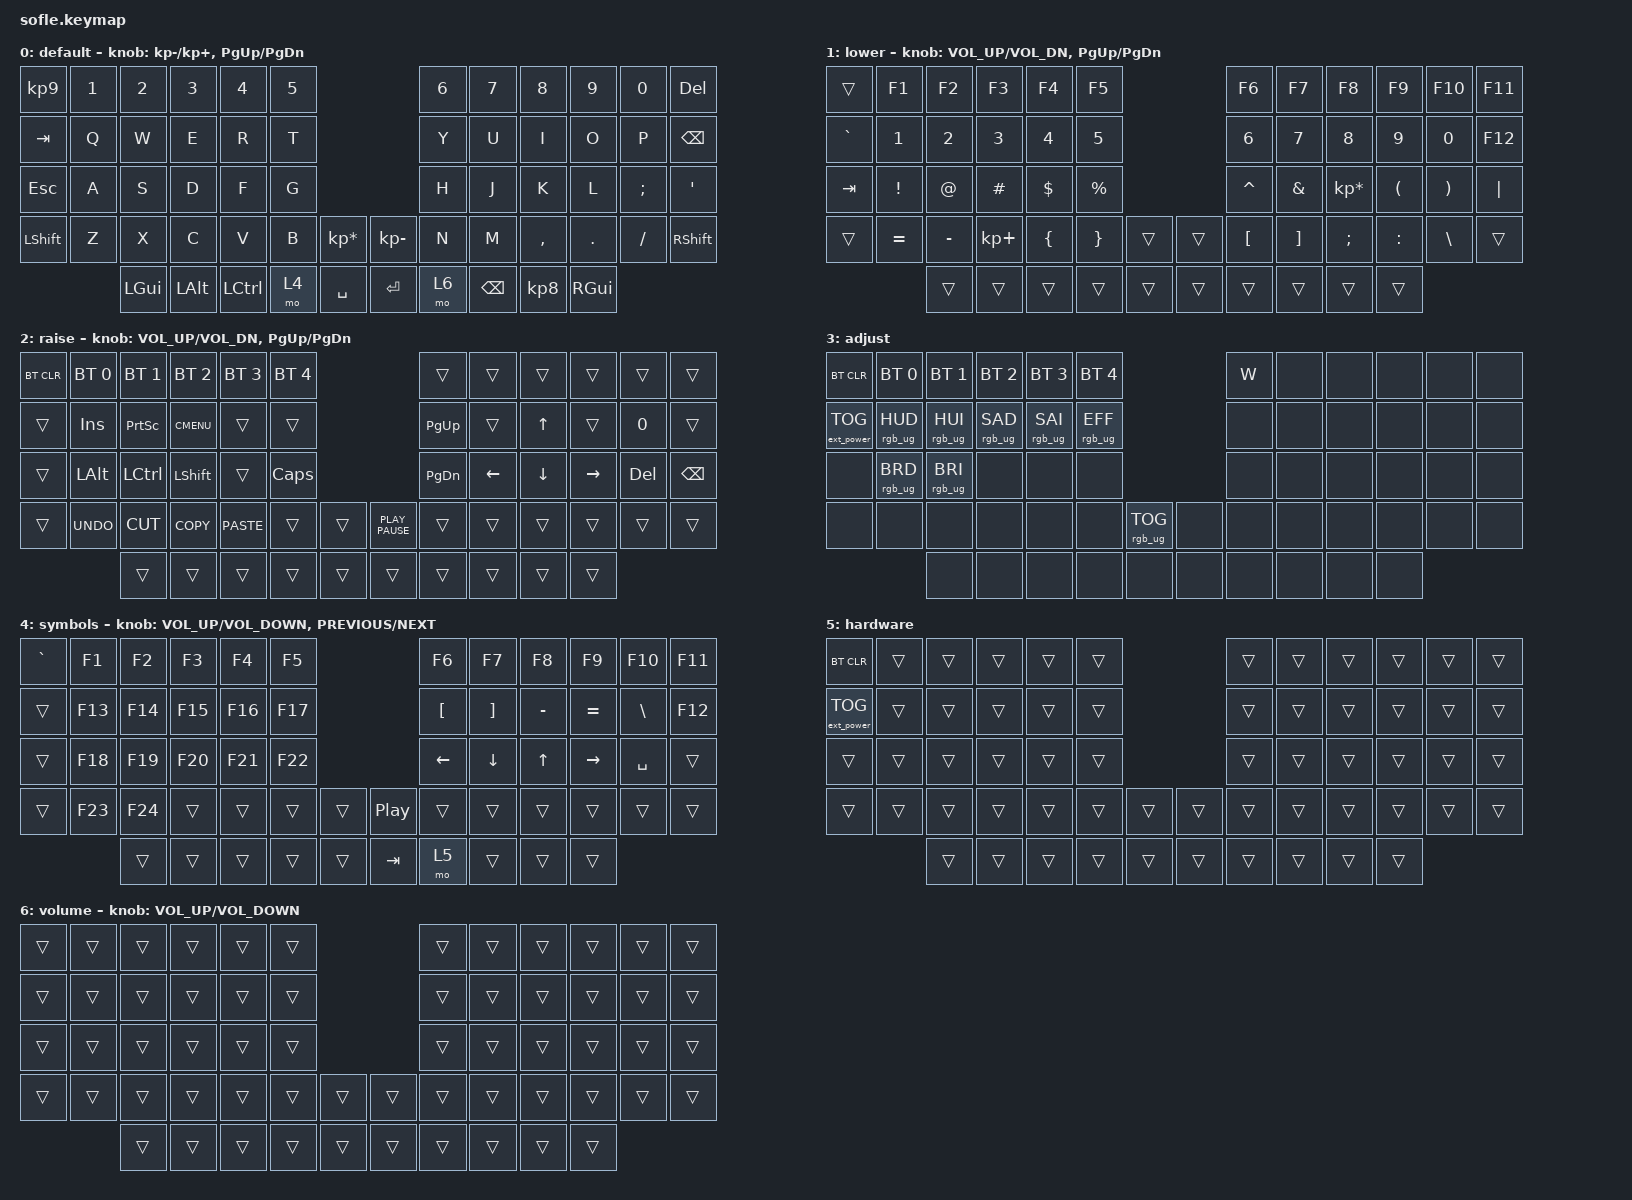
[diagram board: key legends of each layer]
/*
 * Copyright (c) 2020 The ZMK Contributors
 *
 * SPDX-License-Identifier: MIT
 */

#include <behaviors.dtsi>
#include <dt-bindings/zmk/bt.h>
#include <dt-bindings/zmk/ext_power.h>
#include <dt-bindings/zmk/keys.h>
#include <dt-bindings/zmk/rgb.h>

#define BASE 0
#define LOWER 1
#define RAISE 2
#define ADJUST 3

/ {
    // Activate ADJUST layer by pressing raise and lower

    conditional_layers {
        compatible = "zmk,conditional-layers";

        adjust_layer {
            if-layers = <LOWER RAISE>;
            then-layer = <ADJUST>;
        };
    };

    keymap {
        compatible = "zmk,keymap";

        default_layer {
            label = "default";

            // ------------------------------------------------------------------------------------------------------------
            // |   `   |  1  |  2  |  3   |  4   |  5   |                   |  6   |  7    |  8    |  9   |   0   |       |
            // |  ESC  |  Q  |  W  |  E   |  R   |  T   |                   |  Y   |  U    |  I    |  O   |   P   | BKSPC |
            // |  TAB  |  A  |  S  |  D   |  F   |  G   |                   |  H   |  J    |  K    |  L   |   ;   |   '   |
            // | SHIFT |  Z  |  X  |  C   |  V   |  B   |  MUTE  |  |       |  N   |  M    |  ,    |  .   |   /   | SHIFT |
            //               | GUI | ALT  | CTRL | LOWER|  ENTER |  | SPACE | RAISE| CTRL  | ALT   | GUI  |

            bindings = <
&kp KP_NUMBER_9  &kp N1  &kp N2    &kp N3    &kp N4     &kp N5                                      &kp N6  &kp N7         &kp N8           &kp N9    &kp N0    &kp DELETE
&kp TAB          &kp Q   &kp W     &kp E     &kp R      &kp T                                       &kp Y   &kp U          &kp I            &kp O     &kp P     &kp BSPC
&kp ESCAPE       &kp A   &kp S     &kp D     &kp F      &kp G                                       &kp H   &kp J          &kp K            &kp L     &kp SEMI  &kp SQT
&kp LSHFT        &kp Z   &kp X     &kp C     &kp V      &kp B   &kp KP_MULTIPLY    &kp KP_SUBTRACT  &kp N   &kp M          &kp COMMA        &kp DOT   &kp FSLH  &kp RSHFT
                         &kp LGUI  &kp LALT  &kp LCTRL  &mo 4   &kp SPACE          &kp RET          &mo 6   &kp BACKSPACE  &kp KP_NUMBER_8  &kp RGUI
            >;

            sensor-bindings =
                <&inc_dec_kp KP_SUBTRACT KP_PLUS>,
                <&inc_dec_kp PG_UP PG_DN>;
        };

        lower_layer {
            label = "lower";

            // TODO: Some binds are waiting for shifted keycode support.
            // ------------------------------------------------------------------------------------------------------------
            // |       |  F1 |  F2 |  F3  |  F4  |  F5  |                   |  F6  |  F7   |  F8   |  F9  |  F10  |  F11  |
            // |   `   |  1  |  2  |  3   |  4   |  5   |                   |  6   |  7    |  8    |  9   |   0   |  F12  |
            // |       |  !  |  @  |  #   |  $   |  %   |                   |  ^   |  &    |  *    |  (   |   )   |   |   |
            // |       |  =  |  -  |  +   |  {   |  }   |        |  |       |  [   |  ]    |  ;    |  :   |   \   |       |
            //               |     |      |      |      |        |  |       |      |       |       |      |

            bindings = <
&trans     &kp F1     &kp F2     &kp F3       &kp F4    &kp F5                       &kp F6     &kp F7    &kp F8           &kp F9     &kp F10   &kp F11
&kp GRAVE  &kp N1     &kp N2     &kp N3       &kp N4    &kp N5                       &kp N6     &kp N7    &kp N8           &kp N9     &kp N0    &kp F12
&kp TAB    &kp EXCL   &kp AT     &kp HASH     &kp DLLR  &kp PRCNT                    &kp CARET  &kp AMPS  &kp KP_MULTIPLY  &kp LPAR   &kp RPAR  &kp PIPE
&trans     &kp EQUAL  &kp MINUS  &kp KP_PLUS  &kp LBRC  &kp RBRC   &trans    &trans  &kp LBKT   &kp RBKT  &kp SEMI         &kp COLON  &kp BSLH  &trans
                      &trans     &trans       &trans    &trans     &trans    &trans  &trans     &trans    &trans           &trans
            >;

            sensor-bindings = <&inc_dec_kp C_VOL_UP C_VOL_DN &inc_dec_kp PG_UP PG_DN>;
        };

        raise_layer {
            label = "raise";

            // ------------------------------------------------------------------------------------------------------------
            // | BTCLR | BT1  | BT2  |  BT3  |  BT4  |  BT5 |                |      |      |       |      |       |       |
            // |       | INS  | PSCR | GUI   |       |      |                | PGUP |      |   ^   |      |       |       |
            // |       | ALT  | CTRL | SHIFT |       | CAPS |                | PGDN |   <- |   v   |  ->  |  DEL  | BKSPC |
            // |       | UNDO | CUT  | COPY  | PASTE |      |      |  |      |      |      |       |      |       |       |
            //                |      |       |       |      |      |  |      |      |      |       |      |

            bindings = <
&bt BT_CLR  &bt BT_SEL 0  &bt BT_SEL 1  &bt BT_SEL 2  &bt BT_SEL 3  &bt BT_SEL 4                              &trans     &trans    &trans    &trans     &trans   &trans
&trans      &kp INS       &kp PSCRN     &kp K_CMENU   &trans        &trans                                    &kp PG_UP  &trans    &kp UP    &trans     &kp N0   &trans
&trans      &kp LALT      &kp LCTRL     &kp LSHFT     &trans        &kp CLCK                                  &kp PG_DN  &kp LEFT  &kp DOWN  &kp RIGHT  &kp DEL  &kp BSPC
&trans      &kp K_UNDO    &kp K_CUT     &kp K_COPY    &kp K_PASTE   &trans        &trans    &kp K_PLAY_PAUSE  &trans     &trans    &trans    &trans     &trans   &trans
                          &trans        &trans        &trans        &trans        &trans    &trans            &trans     &trans    &trans    &trans
            >;

            sensor-bindings = <&inc_dec_kp C_VOL_UP C_VOL_DN &inc_dec_kp PG_UP PG_DN>;
        };

        adjust_layer {
            // ----------------------------------------------------------------------------------------------------------------------------
            // | BTCLR  |  BT1    |  BT2    |   BT3   |   BT4   |   BT5   |                  |      |      |       |      |       |       |
            // | EXTPWR | RGB_HUD | RGB_HUI | RGB_SAD | RGB_SAI | RGB_EFF |                  |      |      |       |      |       |       |
            // |        | RGB_BRD | RGB_BRI |         |         |         |                  |      |      |       |      |       |       |
            // |        |         |         |         |         |         | RGB_TOG | |      |      |      |       |      |       |       |
            //                    |         |         |         |         |         | |      |      |      |       |      |

            label = "adjust";
            bindings = <
&bt BT_CLR         &bt BT_SEL 0     &bt BT_SEL 1     &bt BT_SEL 2     &bt BT_SEL 3     &bt BT_SEL 4                               &kp W  &none  &none  &none  &none  &none
&ext_power EP_TOG  &rgb_ug RGB_HUD  &rgb_ug RGB_HUI  &rgb_ug RGB_SAD  &rgb_ug RGB_SAI  &rgb_ug RGB_EFF                            &none  &none  &none  &none  &none  &none
&none              &rgb_ug RGB_BRD  &rgb_ug RGB_BRI  &none            &none            &none                                      &none  &none  &none  &none  &none  &none
&none              &none            &none            &none            &none            &none            &rgb_ug RGB_TOG    &none  &none  &none  &none  &none  &none  &none
                                    &none            &none            &none            &none            &none              &none  &none  &none  &none  &none
            >;
        };

        symbols {
            bindings = <
&kp GRAVE  &kp F1   &kp F2   &kp F3   &kp F4   &kp F5                       &kp F6            &kp F7             &kp F8     &kp F9     &kp F10        &kp F11
&trans     &kp F13  &kp F14  &kp F15  &kp F16  &kp F17                      &kp LEFT_BRACKET  &kp RIGHT_BRACKET  &kp MINUS  &kp EQUAL  &kp BACKSLASH  &kp F12
&trans     &kp F18  &kp F19  &kp F20  &kp F21  &kp F22                      &kp LEFT_ARROW    &kp DOWN           &kp UP     &kp RIGHT  &kp SPACE      &trans
&trans     &kp F23  &kp F24  &trans   &trans   &trans   &trans    &kp C_PP  &trans            &trans             &trans     &trans     &trans         &trans
                    &trans   &trans   &trans   &trans   &trans    &kp TAB   &mo 5             &trans             &trans     &trans
            >;

            sensor-bindings =
                <&inc_dec_kp C_VOLUME_UP C_VOLUME_DOWN>,
                <&inc_dec_kp C_PREVIOUS C_NEXT>;
        };

        hardware {
            bindings = <
&bt BT_CLR         &trans  &trans  &trans  &trans  &trans                    &trans  &trans  &trans  &trans  &trans  &trans
&ext_power EP_TOG  &trans  &trans  &trans  &trans  &trans                    &trans  &trans  &trans  &trans  &trans  &trans
&trans             &trans  &trans  &trans  &trans  &trans                    &trans  &trans  &trans  &trans  &trans  &trans
&trans             &trans  &trans  &trans  &trans  &trans  &trans    &trans  &trans  &trans  &trans  &trans  &trans  &trans
                           &trans  &trans  &trans  &trans  &trans    &trans  &trans  &trans  &trans  &trans
            >;
        };

        volume {
            bindings = <
&trans  &trans  &trans  &trans  &trans  &trans                    &trans  &trans  &trans  &trans  &trans  &trans
&trans  &trans  &trans  &trans  &trans  &trans                    &trans  &trans  &trans  &trans  &trans  &trans
&trans  &trans  &trans  &trans  &trans  &trans                    &trans  &trans  &trans  &trans  &trans  &trans
&trans  &trans  &trans  &trans  &trans  &trans  &trans    &trans  &trans  &trans  &trans  &trans  &trans  &trans
                &trans  &trans  &trans  &trans  &trans    &trans  &trans  &trans  &trans  &trans
            >;

            sensor-bindings = <&inc_dec_kp C_VOLUME_UP C_VOLUME_DOWN>;
        };
    };
};
